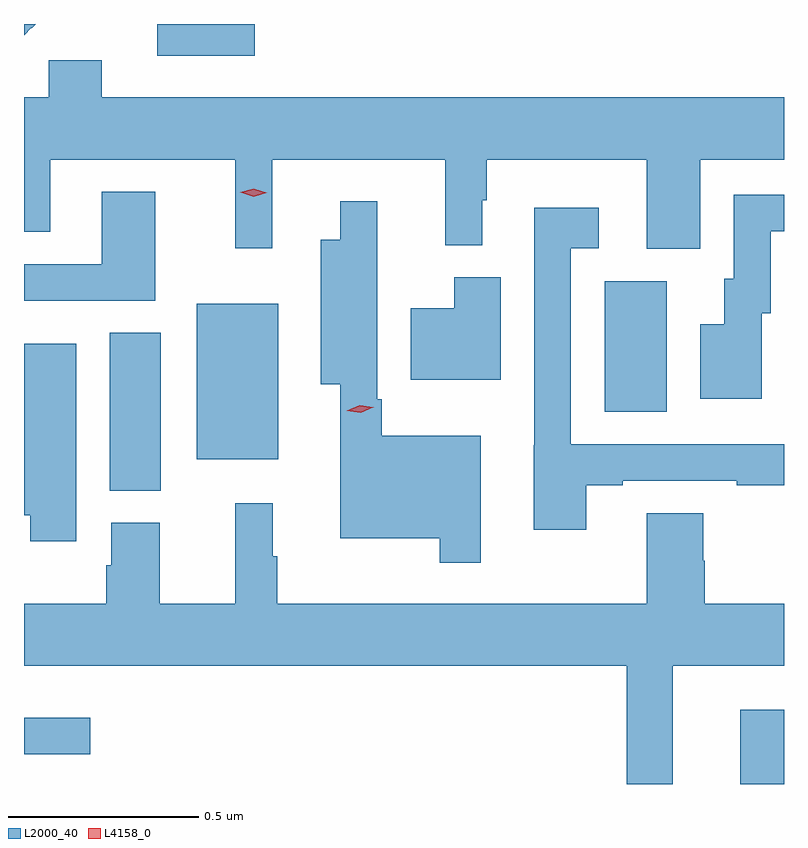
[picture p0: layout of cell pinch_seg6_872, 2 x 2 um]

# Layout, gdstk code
import gdstk
lib = gdstk.Library(unit=1e-6, precision=1e-09)
def R(c, l, rs):  # rectangles x0, y0, x1, y1
    for r in rs: c.add(gdstk.rectangle(r[:2], r[2:], *l))
def P(c, l, *ps):  # polygons
    for p in ps: c.add(gdstk.Polygon(p, *l))
L2000_40 = (2000, 40)
L4158_0 = (4158, 0)

pinch_seg6_872 = lib.new_cell('pinch_seg6_872')
R(pinch_seg6_872, L2000_40, [(125.717,974.997,125.832,975.193), (123.832,975.075,124.006,975.172), (124.058,975.769,124.192,976.184), (124.286,975.851,124.501,976.261), (125.36,975.976,125.524,976.32), (124.182,976.914,124.439,976.997)])
P(pinch_seg6_872, L2000_40, [(123.851,976.987),(123.852,976.986),(123.863,976.997),(123.832,976.997),(123.832,976.968)],
  [(125.611,976.64),(125.832,976.64),(125.832,976.804),(124.036,976.804),(124.036,976.902),(123.897,976.902),(123.897,976.804),(123.832,976.804),(123.832,976.45),(123.901,976.45),(123.901,976.64),(124.388,976.64),(124.388,976.407),(124.485,976.407),(124.485,976.64),(124.94,976.64),(124.94,976.415),(125.038,976.415),(125.038,976.533),(125.05,976.533),(125.05,976.64),(125.471,976.64),(125.471,976.405),(125.611,976.405)],
  [(124.177,976.555),(124.037,976.555),(124.037,976.365),(123.832,976.365),(123.832,976.269),(124.177,976.269)],
  [(125.773,976.236),(125.797,976.236),(125.797,976.452),(125.832,976.452),(125.832,976.548),(125.7,976.548),(125.7,976.326),(125.675,976.326),(125.675,976.207),(125.612,976.207),(125.612,976.011),(125.773,976.011)],
  [(125.034,975.913),(124.774,975.913),(124.774,976.009),(124.761,976.009),(124.761,976.531),(124.664,976.531),(124.664,976.429),(124.613,976.429),(124.613,976.049),(124.664,976.049),(124.664,975.644),(124.926,975.644),(124.926,975.579),(125.034,975.579)],
  [(125.311,975.783),(125.407,975.783),(125.407,975.795),(125.707,975.795),(125.707,975.783),(125.832,975.783),(125.832,975.891),(125.271,975.891),(125.271,976.407),(125.344,976.407),(125.344,976.513),(125.175,976.513),(125.175,975.888),(125.174,975.888),(125.174,975.666),(125.311,975.666)],
  [(125.086,976.33),(124.964,976.33),(124.964,976.249),(124.85,976.249),(124.85,976.061),(125.086,976.061)],
  [(123.97,976.156),(123.832,976.156),(123.832,975.704),(123.848,975.704),(123.848,975.636),(123.97,975.636)],
  [(125.539,975.308),(125.832,975.308),(125.832,975.472),(125.624,975.472),(125.624,975.585),(125.619,975.585),(125.619,975.71),(125.471,975.71),(125.471,975.472),(124.498,975.472),(124.498,975.596),(124.486,975.596),(124.486,975.736),(124.388,975.736),(124.388,975.472),(124.189,975.472),(124.189,975.684),(124.061,975.684),(124.061,975.573),(124.049,975.573),(124.049,975.472),(123.832,975.472),(123.832,975.308),(125.418,975.308),(125.418,974.997),(125.539,974.997)])
P(pinch_seg6_872, L4158_0, [(124.718,975.974),(124.681,975.979),(124.681,975.979),(124.681,975.979),(124.715,975.994),(124.751,975.989),(124.752,975.989),(124.751,975.989)],
  [(124.436,976.543),(124.401,976.554),(124.401,976.554),(124.401,976.554),(124.436,976.563),(124.471,976.553),(124.471,976.553),(124.471,976.553)])

lib.write_gds('pinch_seg6_872.gds')
